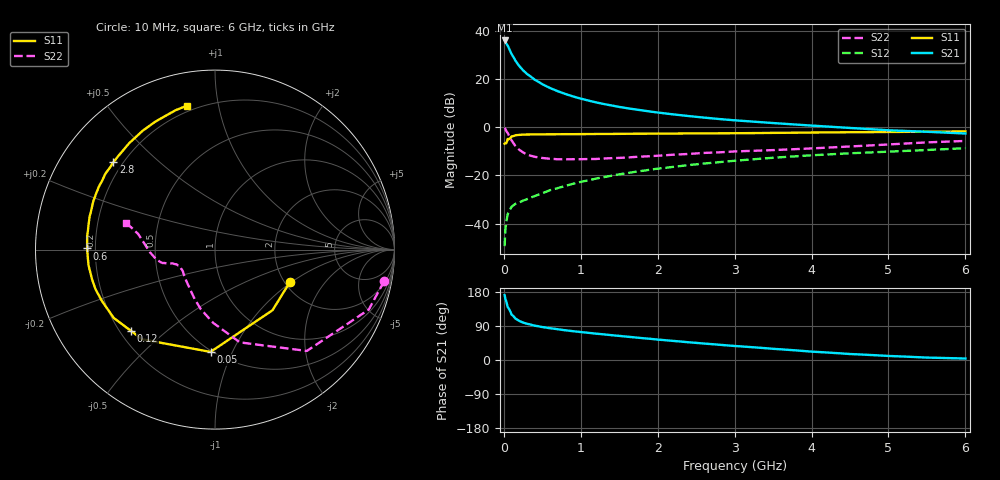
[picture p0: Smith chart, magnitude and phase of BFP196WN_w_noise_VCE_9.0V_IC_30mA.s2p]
! (c) 2017  Infineon Technologies AG, Munich
! Infineon Technologies  Discrete & RF Semiconductors
! BFP196WN
! VCE =  9.0 V,  IC =  30 mA
! Common Emitter S-Parameters:  Jan 2017
# GHz  S  MA  R  50
!  f  S11  S21  S12  S22
! GHz  MAG  ANG  MAG  ANG  MAG  ANG  MAG  ANG
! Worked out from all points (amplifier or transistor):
!   77 points, 10 MHz to 6 GHz, reference 50 ohm
!   highest |S21| = 36.0 dB at 10 MHz (marker M1)
!   |S21| within 3 dB of that: start of sweep to 62.83 MHz
!   unconditionally stable (mu >= 1): 801.9 MHz to 2.682 GHz
!   at 130 MHz: K = 0.39, MSG = 30.5 dB, |S12| = -32.3 dB
!   at 2.2 GHz: K = 1.03, MAG = 9.9 dB, |S12| = -16.5 dB
!   at 6 GHz: K = 0.88, MSG = 3.1 dB, |S12| = -8.7 dB
!   lowest NFmin = 1.06 dB at 450 MHz
!   S11 on the Smith chart (normalised r, x): 10 MHz: 2.14, -0.97; 50 MHz: 0.49, -0.83; 120 MHz: 0.24, -0.38; 600 MHz: 0.17, +0.00; 2.8 GHz: 0.16, +0.36; 6 GHz: 0.17, +0.81
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0.01  0.455 -23.2  62.99 171.1  0.0034 82.4  0.9585 -10.6
0.02  0.4656 -46.5  59.08 161.5  0.0075 77.8  0.9195 -21.3
0.05  0.5705 -92.5  49.17 139.9  0.0157 57.6  0.762 -47.8
0.1  0.6435 -129.0  33.01 119.8  0.0223 47.5  0.535 -75.0
0.12  0.6514 -136.0  29.34 116.4  0.0236 45.7  0.4797 -80.5
0.15  0.6807 -146.0  24.09 109.5  0.0256 43.3  0.408 -91.5
0.2  0.6918 -155.5  18.63 103.2  0.0273 43.9  0.3407 -103.5
0.25  0.7013 -161.6  15.16 98.8  0.03 45.6  0.3002 -111.8
0.3  0.7048 -166.4  12.76 95.6  0.032 47.4  0.2708 -119.1
0.4  0.71 -172.8  9.697 90.6  0.0372 52.5  0.2433 -129.1
0.5  0.7104 -177.1  7.781 87.0  0.0427 55.6  0.2297 -136.6
0.6  0.7123 179.5  6.508 83.9  0.0492 58.4  0.2214 -142.3
0.7  0.7138 176.6  5.579 81.2  0.0544 60.2  0.2161 -145.8
0.8  0.7165 173.8  4.888 78.4  0.0605 62.6  0.2155 -148.6
1.1  0.7197 167.1  3.563 71.7  0.0793 64.0  0.2181 -154.9
1.5  0.7271 159.9  2.632 63.6  0.105 64.2  0.2305 -159.4
2.1  0.7361 150.0  1.929 52.2  0.1438 62.5  0.262 -163.0
2.8  0.7465 139.3  1.477 40.2  0.1881 58.7  0.3007 -165.5
3.1  0.751 134.7  1.353 35.7  0.2071 56.3  0.3179 -168.3
4.1  0.7766 120.1  1.056 21.0  0.2661 48.8  0.3695 -179.4
5.1  0.7974 109.1  0.851 9.9  0.3157 41.4  0.447 167.7
6  0.817 101.1  0.739 3.8  0.366 35.4  0.5183 163.5
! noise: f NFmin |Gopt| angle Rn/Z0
0.45  1.06  0.46  178  0.04
0.9  1.19  0.52  184  0.05
1.9  2.13  0.68  211  0.13
2.4  2.86  0.69  218  0.24
